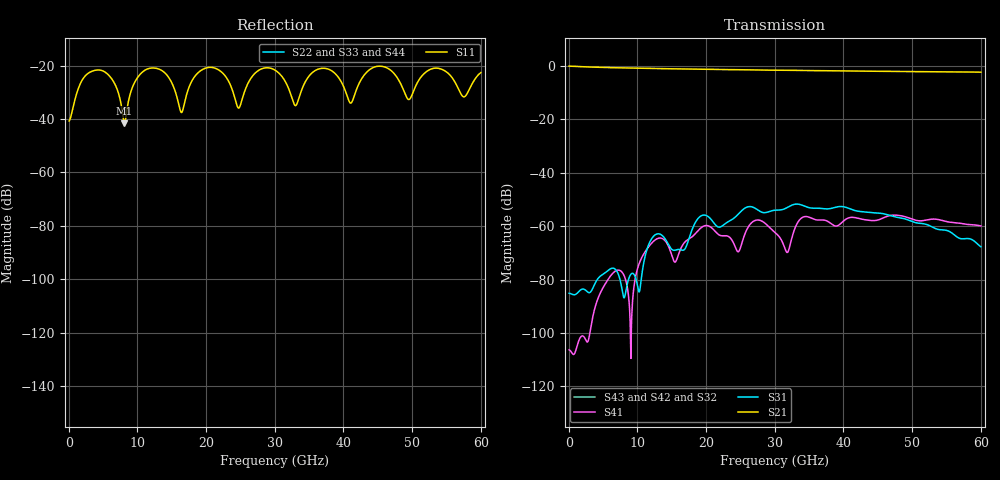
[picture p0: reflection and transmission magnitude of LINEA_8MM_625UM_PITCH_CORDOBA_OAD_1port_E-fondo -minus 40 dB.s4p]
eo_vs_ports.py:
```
"""EO crosstalk (gap fields, 50/50 ohm, push-pull, n_g 2.27) of the dense -40 dB run vs its FEXT (S41) and NEXT (S31),
and FEXT/2 (velocity-matched forward coupling growing linearly along the line: the EO average of B is half its end value)."""
import os, sys
HERE = os.path.dirname(os.path.abspath(__file__))
sys.path.insert(0, os.path.abspath(os.path.join(HERE, "../../../..")))
import numpy as np, skrf as rf, matplotlib
matplotlib.use("Agg"); import matplotlib.pyplot as plt
from mzm_interconnect import parameters as P, xtalk_fields as XF
p = P.defaults(); p["Rt_R"] = 50.0; p["Zs_R"] = 50.0
fd = XF.load_field_dir(os.path.join(HERE, "unpacked")); X = XF.eo_crosstalk_fields(p, fd); f = X["f_GHz"]
n = rf.Network(os.path.join(HERE, "LINEA_8MM_625UM_PITCH_CORDOBA_OAD_1port_E-fondo -minus 40 dB.s4p"))
fs = n.f / 1e9; s41 = n.s[:, 3, 0]; s31 = n.s[:, 2, 0]
eo = 20 * np.log10(abs(X["X"])); fx = np.interp(f, fs, 20 * np.log10(abs(s41))); nx = np.interp(f, fs, 20 * np.log10(abs(s31)))
d = eo - fx
print("EO - FEXT (dB): median %.1f, 5-95%% range %.1f .. %.1f; correlation of dB curves 5-60 GHz: %.2f; NEXT: %.2f"
      % (np.median(d[f >= 5]), *np.percentile(d[f >= 5], [5, 95]), np.corrcoef(eo[f >= 5], fx[f >= 5])[0, 1], np.corrcoef(eo[f >= 5], nx[f >= 5])[0, 1]))
fig, ax = plt.subplots(figsize=(8.5, 4.6))
ax.plot(fs, 20 * np.log10(abs(s41)), color="#eb6834", lw=1.2, label="FEXT |S41| (port data)")
ax.plot(fs, 20 * np.log10(abs(s41)) - 6.02, color="#eb6834", lw=0.9, ls=":", label="FEXT - 6 dB")
ax.plot(fs, 20 * np.log10(abs(s31)), color="0.55", lw=1.0, label="NEXT |S31| (port data)")
ax.plot(f, eo, "o-", color="#2a78d6", ms=3, lw=1.4, label="EO crosstalk B/A (gap fields)")
ax.set_xlim(0, 60); ax.set_ylim(-110, -40); ax.set_xlabel("frequency (GHz)"); ax.set_ylabel("dB"); ax.grid(alpha=0.3)
ax.set_title("CORDOBA 8 mm widened, electric bottom, -40 dB run: EO crosstalk vs FEXT and NEXT", fontsize=10)
ax.legend(frameon=False, fontsize=8, loc="lower right"); fig.tight_layout(); fig.savefig(os.path.join(HERE, "eo_vs_fext_next.png"), dpi=150)
```
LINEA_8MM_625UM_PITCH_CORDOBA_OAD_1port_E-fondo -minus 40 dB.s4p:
! TOUCHSTONE file generated by CST MICROWAVE STUDIO
! Date and time: Thu Nov  5 08:35:11 2026
! Project name: LINEA_8MM_625UM_PITCH_CORDOBA_OAD_1port_E-fondo -minus 40 dB.cst
! Parameters = {CHANNEL_PITCH=0.625; GAP=0.00415; L=8; L1=0.02; L2=0.086; L3=0.066; NCELL=1; PITCH=0.18; START_POSITION=0.13; W1=0.003; W2=0.004; W3=0.009; WG=0.04985; gap_oxr=0.00125; linbo3_thickness=0.0002; mtx=0.002; oxiDinE=0.0014; w=0.185; ws=0.035}
! Header version: 2024
! Port assignment regex: !\s*Touchstone port\s*([0-9]+)\s*=\s*(CST MWS port|CST DES external port|CST DES block port)\s*(.+)\s* \(\"(.*)\"\)(\s*mode\s*([0-9]+))?.*
! Touchstone port assignment:
! Touchstone port 1 = CST MWS port 1 ("")
! Touchstone port 2 = CST MWS port 2 ("")
! Touchstone port 3 = CST MWS port 3 ("")
! Touchstone port 4 = CST MWS port 4 ("")
# GHz S MA R 50
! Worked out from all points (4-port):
!   1000 points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, 60 MHz to 60 GHz, reference 50 ohm
!   strongest paths, dB at 60 MHz, 15.06 GHz, 30.06 GHz, 45.06 GHz, 60 GHz:
!     S21: -0.1, -1.1, -1.6, -2.0, -2.3
!     S31: -85.1, -68.8, -54.0, -55.1, -67.7
!     S41: -106.3, -71.4, -62.4, -57.7, -59.9
!     S43: -, -, -, -, -
!     S42: -, -, -, -, -
!     S32: -, -, -, -, -
!   lowest |S11| = -41.6 dB at 8.1 GHz (marker M1), VSWR 1.02, Z = 49.2 - j0.177 ohm
!   |S11| at or under -10 dB: start of sweep to end of sweep
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0.06  0.009202 -6.3  0 0.0  0 0.0  0 0.0
      0.9908 -1.4  0 0.0  0 0.0  0 0.0
      5.536e-05 -9.4  0 0.0  0 0.0  0 0.0
      4.833e-06 170.8  0 0.0  0 0.0  0 0.0
8.1  0.008284 -167.5  0 0.0  0 0.0  0 0.0
     0.9204 -177.2  0 0.0  0 0.0  0 0.0
     4.578e-05 -0.9  0 0.0  0 0.0  0 0.0
     0.0001157 135.1  0 0.0  0 0.0  0 0.0
60  0.07431 -125.1  0 0.0  0 0.0  0 0.0
    0.7649 151.6  0 0.0  0 0.0  0 0.0
    0.0004113 -5.0  0 0.0  0 0.0  0 0.0
    0.00101 71.4  0 0.0  0 0.0  0 0.0
